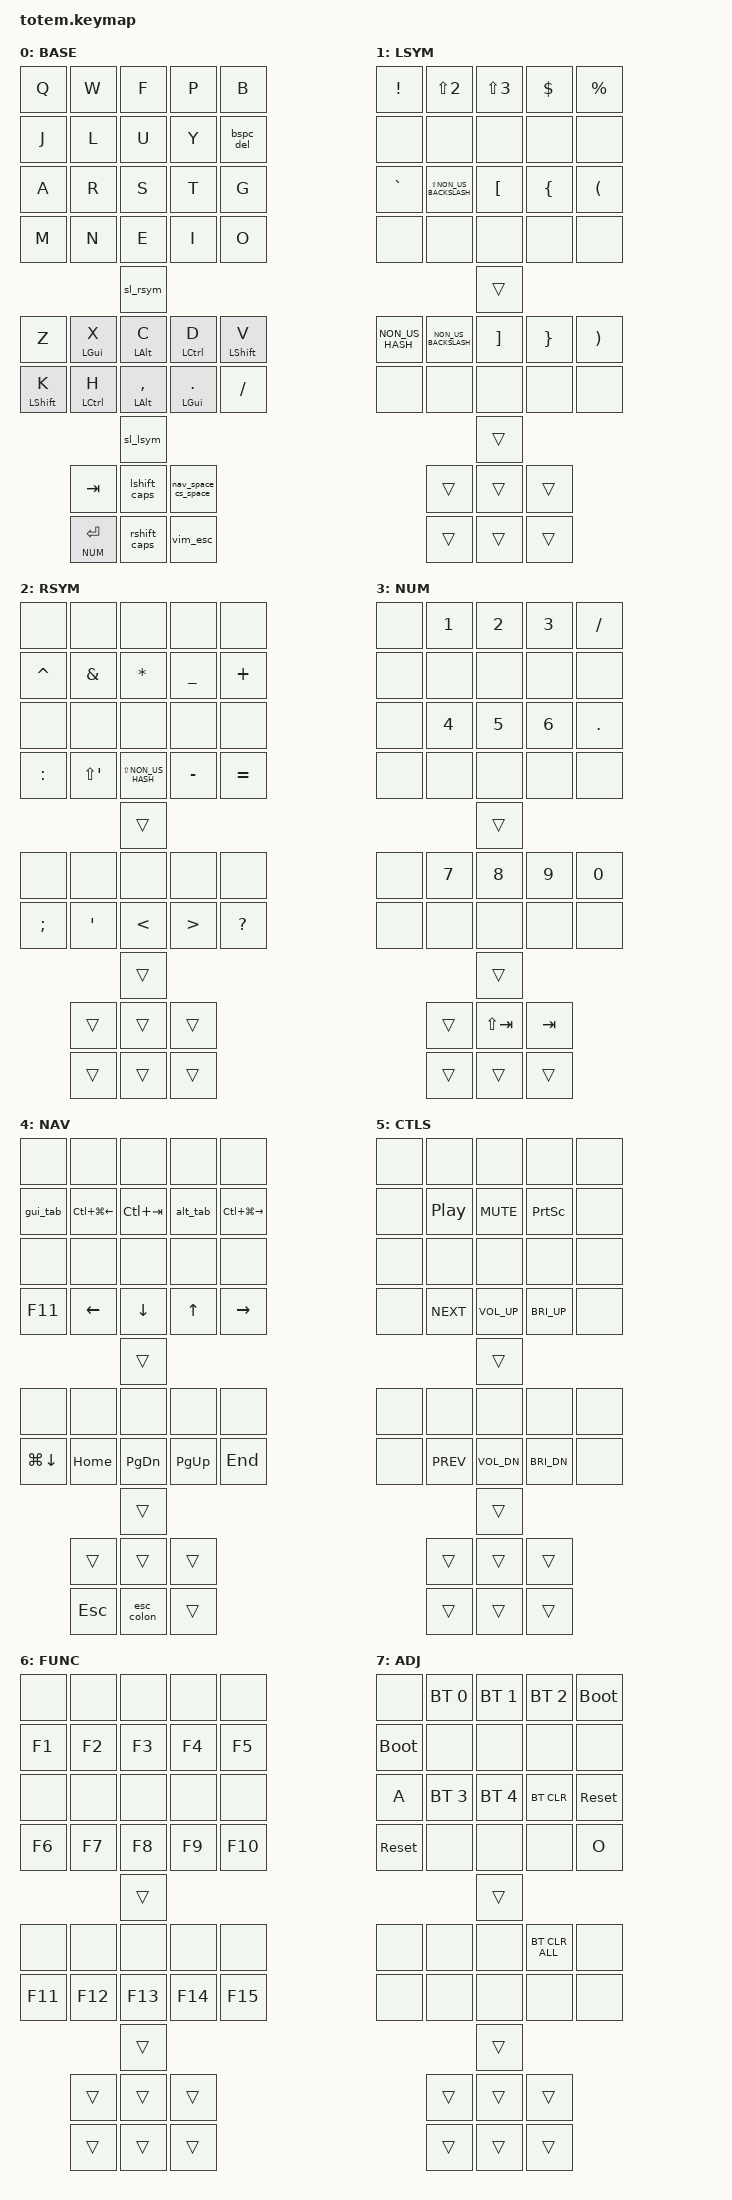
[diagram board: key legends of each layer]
#include <behaviors.dtsi>
#include <dt-bindings/zmk/keys.h>
#include <dt-bindings/zmk/bt.h>
#include <dt-bindings/zmk/outputs.h>

#define BASE 0
#define LSYM 1
#define RSYM 2
#define NUM  3
#define NAV  4
#define CTLS 5
#define FUNC 6
#define ADJ  7

#define UK_DQT   LS(NUMBER_2)
#define UK_AT    LS(SINGLE_QUOTE)
#define UK_POUND LS(NUMBER_3)
#define UK_BSLH  NON_US_BACKSLASH
#define UK_PIPE  LS(NON_US_BACKSLASH)
#define UK_HASH  NON_US_HASH
#define UK_TILDE LS(NON_US_HASH)

#define OVERVIEW  LG(TAB)
#define PREV_DESK LC(LG(LEFT))
#define NEXT_TAB  LC(TAB)
#define NEXT_DESK LC(LG(RIGHT))
#define MAX_WIN   F11
#define MIN_WIN   LG(DOWN)
#define EMOJI     LG(SEMI)

&sk {
    release-after-ms = <1000>;
    quick-release;
    /delete-property/ ignore-modifiers;
};

&caps_word {
    continue-list = <UNDERSCORE BSPC DEL TAB LEFT RIGHT HOME END>;
};

/ {
    conditional_layers {
        compatible = "zmk,conditional-layers";
        ladj_layer {
            if-layers = <RSYM NAV>;
            then-layer = <ADJ>;
        };
        radj_layer {
            if-layers = <NUM LSYM>;
            then-layer = <ADJ>;
        };
    };

    behaviors {
        bspc_del: backspace_delete {
            compatible = "zmk,behavior-mod-morph";
            #binding-cells = <0>;
            bindings = <&kp BSPC>, <&kp DEL>;
            mods = <MOD_LSFT>;
        };

        sl_lsym: sticky_lsym_layer {
            compatible = "zmk,behavior-mod-morph";
            #binding-cells = <0>;
            bindings = <&sl LSYM>, <&sl LSYM>;
            mods = <(MOD_LSFT|MOD_RSFT)>;
        };

        sl_rsym: sticky_rsym_layer {
            compatible = "zmk,behavior-mod-morph";
            #binding-cells = <0>;
            bindings = <&sl RSYM>, <&sl RSYM>;
            mods = <(MOD_LSFT|MOD_RSFT)>;
        };

        vim_esc: vim_esc {
            compatible = "zmk,behavior-mod-morph";
            #binding-cells = <0>;
            bindings = <&kp ESC>, <&esc_colon>;
            mods = <MOD_LSFT>;
        };

        lshift_caps: lshift_or_caps_word {
            compatible = "zmk,behavior-mod-morph";
            #binding-cells = <0>;
            bindings = <&sk LSHIFT>, <&caps_word>;
            mods = <MOD_RSFT>;
        };

        rshift_caps: rshift_or_caps_word {
            compatible = "zmk,behavior-mod-morph";
            #binding-cells = <0>;
            bindings = <&sk RSHIFT>, <&caps_word>;
            mods = <MOD_LSFT>;
        };

        nav_space_cs_space: nav_space_or_ctl_sft_space {
            compatible = "zmk,behavior-mod-morph";
            #binding-cells = <0>;
            bindings = <&lt_retro NAV SPACE>, <&kp LC(SPACE)>;
            mods = <MOD_RSFT>;
            keep-mods = <MOD_RSFT>;
        };

        mtl: mod_tap_left {
            compatible = "zmk,behavior-hold-tap";
            #binding-cells = <2>;
            flavor = "balanced";
            tapping-term-ms = <280>;
            quick-tap-ms = <150>;
            bindings = <&kp>, <&kp>;
            hold-trigger-key-positions = <5 6 7 8 9 15 16 17 18 19 26 27 28 29 30 35 36 37>;
            hold-trigger-on-release;
        };

        mtr: mod_tap_right {
            compatible = "zmk,behavior-hold-tap";
            #binding-cells = <2>;
            flavor = "balanced";
            tapping-term-ms = <280>;
            quick-tap-ms = <150>;
            bindings = <&kp>, <&kp>;
            hold-trigger-key-positions = <0 1 2 3 4 10 11 12 13 14 21 22 23 24 25 32 33 34>;
            hold-trigger-on-release;
        };

        lt_retro: layer_tap_retro {
            compatible = "zmk,behavior-hold-tap";
            #binding-cells = <2>;
            flavor = "tap-preferred";
            tapping-term-ms = <200>;
            quick-tap-ms = <150>;
            bindings = <&mo>, <&kp>;
            retro-tap;
        };

        alt_tab: alt_tab {
            compatible = "zmk,behavior-tri-state";
            #binding-cells = <0>;
            bindings = <&kt LALT>, <&kp TAB>, <&kt LALT>;
            ignored-key-positions = <8>;
        };

        gui_tab: gui_tab {
            compatible = "zmk,behavior-tri-state";
            #binding-cells = <0>;
            bindings = <&kt LGUI>, <&kp TAB>, <&kt LGUI>;
            ignored-key-positions = <5>;
        };
    };

    macros {
        esc_colon: esc_colon {
            compatible = "zmk,behavior-macro";
            #binding-cells = <0>;
            bindings = <&macro_tap &kp ESC &kp COLON>;
        };
    };

    combos {
        compatible = "zmk,combos";

        combo_f_t {
            timeout-ms = <100>;
            key-positions = <2 13>;
            bindings = <&mo FUNC>;
        };
        combo_c_t {
            timeout-ms = <100>;
            key-positions = <13 23>;
            bindings = <&mo CTLS>;
        };
    };

    keymap {
        compatible = "zmk,keymap";

        base_layer {
            display-name = "BASE";
            bindings = <
                &kp Q &kp W &kp F &kp P &kp B
                  &kp J &kp L &kp U &kp Y &bspc_del
                &kp A &kp R &kp S &kp T &kp G
                  &kp M &kp N &kp E &kp I &kp O
                &sl_rsym
                &kp Z &mtl LGUI X &mtl LALT C &mtl LCTRL D &mtl LSHIFT V
                  &mtr LSHIFT K &mtr LCTRL H &mtr LALT COMMA &mtr LGUI DOT &kp FSLH
                &sl_lsym
                &kp TAB &lshift_caps &nav_space_cs_space
                  &lt_retro NUM ENTER &rshift_caps &vim_esc
            >;
        };

        lsym_layer {
            display-name = "LSYM";
            bindings = <
                &kp EXCL &kp UK_DQT &kp UK_POUND &kp DLLR &kp PRCNT
                  &none &none &none &none &none
                &kp GRAVE &kp UK_PIPE &kp LBKT &kp LBRC &kp LPAR
                  &none &none &none &none &none
                &trans
                &kp UK_HASH &kp UK_BSLH &kp RBKT &kp RBRC &kp RPAR
                  &none &none &none &none &none
                &trans
                &trans &trans &trans
                  &trans &trans &trans
            >;
        };

        rsym_layer {
            display-name = "RSYM";
            bindings = <
                &none &none &none &none &none
                  &kp CARET &kp AMPS &kp ASTRK &kp UNDER &kp PLUS
                &none &none &none &none &none
                  &kp COLON &kp UK_AT &kp UK_TILDE &kp MINUS &kp EQUAL
                &trans
                &none &none &none &none &none
                  &kp SEMI &kp SQT &kp LT &kp GT &kp QMARK
                &trans
                &trans &trans &trans
                  &trans &trans &trans
            >;
        };

        num_layer {
            display-name = "NUM";
            bindings = <
                &none &kp N1 &kp N2 &kp N3 &kp FSLH
                  &none &none &none &none &none
                &none &kp N4 &kp N5 &kp N6 &kp DOT
                  &none &none &none &none &none
                &trans
                &none &kp N7 &kp N8 &kp N9 &kp N0
                  &none &none &none &none &none
                &trans
                &trans &kp LS(TAB) &kp TAB
                  &trans &trans &trans
            >;
        };

        nav_layer {
            display-name = "NAV";
            bindings = <
                &none &none &none &none &none
                  &gui_tab &kp PREV_DESK &kp NEXT_TAB &alt_tab &kp NEXT_DESK
                &none &none &none &none &none
                  &kp MAX_WIN &kp LEFT &kp DOWN &kp UP &kp RIGHT
                &trans
                &none &none &none &none &none
                  &kp MIN_WIN &kp HOME &kp PAGE_DOWN &kp PAGE_UP &kp END
                &trans
                &trans &trans &trans
                  &kp ESC &esc_colon &trans
            >;
        };

        ctls_layer {
            display-name = "CTLS";
            bindings = <
                &none &none &none &none &none
                  &none &kp C_PLAY_PAUSE &kp C_MUTE &kp PSCRN &none
                &none &none &none &none &none
                  &none &kp C_NEXT &kp C_VOL_UP &kp C_BRI_UP &none
                &trans
                &none &none &none &none &none
                  &none &kp C_PREV &kp C_VOL_DN &kp C_BRI_DN &none
                &trans
                &trans &trans &trans
                  &trans &trans &trans
            >;
        };

        func_layer {
            display-name = "FUNC";
            bindings = <
                &none &none &none &none &none
                  &kp F1 &kp F2 &kp F3 &kp F4 &kp F5
                &none &none &none &none &none
                  &kp F6 &kp F7 &kp F8 &kp F9 &kp F10
                &trans
                &none &none &none &none &none
                  &kp F11 &kp F12 &kp F13 &kp F14 &kp F15
                &trans
                &trans &trans &trans
                  &trans &trans &trans
            >;
        };

        adj_layer {
            display-name = "ADJ";
            bindings = <
                &none &bt BT_SEL 0 &bt BT_SEL 1 &bt BT_SEL 2 &bootloader
                  &bootloader &none &none &none &none
                &kp A &bt BT_SEL 3 &bt BT_SEL 4 &bt BT_CLR &sys_reset
                  &sys_reset &none &none &none &kp O
                &trans
                &none &none &none &bt BT_CLR_ALL &none
                  &none &none &none &none &none
                &trans
                &trans &trans &trans
                  &trans &trans &trans
            >;
        };
    };
};
